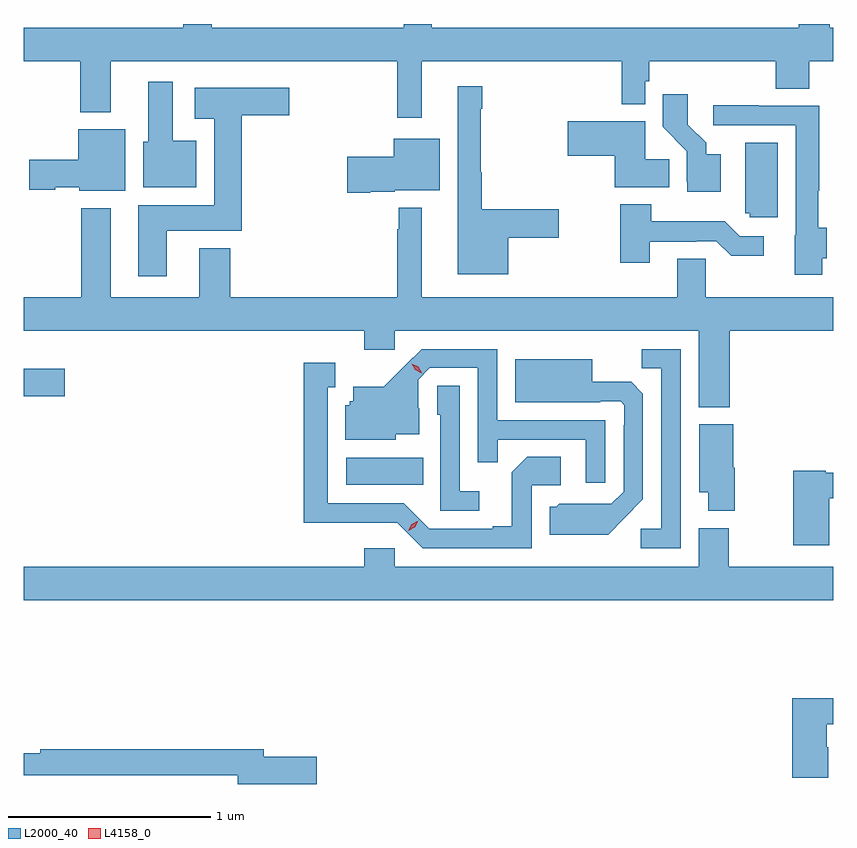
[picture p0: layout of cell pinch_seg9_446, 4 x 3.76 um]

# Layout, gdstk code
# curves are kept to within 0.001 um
import gdstk
lib = gdstk.Library(unit=1e-6, precision=1e-09)
def R(c, l, rs):  # rectangles x0, y0, x1, y1
    for r in rs: c.add(gdstk.rectangle(r[:2], r[2:], *l))
def P(c, l, *ps):  # polygons
    for p in ps: c.add(gdstk.Polygon(p, *l))
L2000_40 = (2000, 40)
L4158_0 = (4158, 0)

pinch_seg9_446 = lib.new_cell('pinch_seg9_446')
R(pinch_seg9_446, L2000_40, [(256.59,1190.33,256.97,1190.464), (254.997,1190.768,255.199,1190.902)])
P(pinch_seg9_446, L2000_40, [(255.925,1192.607),(255.785,1192.607),(255.785,1192.588),(254.997,1192.588),(254.997,1192.424),(255.275,1192.424),(255.275,1192.172),(255.427,1192.172),(255.427,1192.424),(256.842,1192.424),(256.842,1192.143),(256.963,1192.143),(256.963,1192.424),(257.953,1192.424),(257.953,1192.211),(258.069,1192.211),(258.069,1192.323),(258.089,1192.323),(258.089,1192.424),(258.713,1192.424),(258.713,1192.288),(258.878,1192.288),(258.878,1192.424),(258.997,1192.424),(258.997,1192.588),(258.979,1192.588),(258.979,1192.607),(258.827,1192.607),(258.827,1192.588),(257.014,1192.588),(257.014,1192.607),(256.875,1192.607),(256.875,1192.588),(255.925,1192.588)],
  [(255.85,1192.03),(255.733,1192.03),(255.733,1192.321),(255.611,1192.321),(255.611,1192.026),(255.587,1192.026),(255.587,1191.8),(255.85,1191.8)],
  [(257.392,1191.55),(257.641,1191.55),(257.641,1191.692),(257.26,1191.692),(257.26,1191.875),(257.255,1191.875),(257.255,1192.187),(257.263,1192.187),(257.263,1192.3),(257.141,1192.3),(257.141,1191.371),(257.392,1191.371)],
  [(255.703,1191.584),(256.073,1191.584),(256.073,1192.157),(256.309,1192.157),(256.309,1192.291),(255.843,1192.291),(255.843,1192.139),(255.938,1192.139),(255.938,1191.712),(255.563,1191.712),(255.563,1191.36),(255.703,1191.36)],
  [(258.442,1191.964),(258.37,1191.964),(258.37,1192.019),(258.279,1192.109),(258.279,1192.261),(258.154,1192.261),(258.154,1192.098),(258.273,1191.979),(258.273,1191.828),(258.275,1191.828),(258.275,1191.779),(258.442,1191.779)],
  [(258.942,1191.45),(258.964,1191.45),(258.964,1191.599),(258.922,1191.599),(258.922,1191.782),(258.929,1191.782),(258.929,1192.203),(258.629,1192.203),(258.629,1192.206),(258.404,1192.206),(258.404,1192.107),(258.813,1192.107),(258.813,1191.564),(258.806,1191.564),(258.806,1191.368),(258.942,1191.368)],
  [(258.188,1191.938),(258.067,1191.938),(258.067,1192.126),(257.685,1192.126),(257.685,1191.956),(257.918,1191.956),(257.918,1191.8),(258.188,1191.8)],
  [(255.499,1192.087),(255.266,1192.087),(255.266,1191.935),(255.024,1191.935),(255.024,1191.788),(255.153,1191.788),(255.153,1191.8),(255.27,1191.8),(255.27,1191.782),(255.499,1191.782)],
  [(256.708,1191.779),(256.83,1191.779),(256.83,1191.785),(257.053,1191.785),(257.053,1192.039),(256.826,1192.039),(256.826,1191.951),(256.596,1191.951),(256.596,1191.773),(256.708,1191.773)],
  [(258.724,1192.021),(258.563,1192.021),(258.563,1191.672),(258.585,1191.672),(258.585,1191.651),(258.724,1191.651)],
  [(258.091,1191.531),(258.32,1191.531),(258.32,1191.534),(258.42,1191.534),(258.493,1191.461),(258.654,1191.461),(258.654,1191.558),(258.534,1191.558),(258.461,1191.631),(258.099,1191.631),(258.099,1191.715),(257.944,1191.715),(257.944,1191.426),(258.091,1191.426)],
  [(258.485,1191.092),(258.997,1191.092),(258.997,1191.256),(258.366,1191.256),(258.366,1191.446),(258.227,1191.446),(258.227,1191.256),(256.963,1191.256),(256.963,1191.7),(256.849,1191.7),(256.849,1191.593),(256.842,1191.593),(256.842,1191.256),(256.016,1191.256),(256.016,1191.499),(255.863,1191.499),(255.863,1191.256),(255.427,1191.256),(255.427,1191.697),(255.28,1191.697),(255.28,1191.256),(254.997,1191.256),(254.997,1191.092),(256.679,1191.092),(256.679,1190.997),(256.83,1190.997),(256.83,1191.092),(258.332,1191.092),(258.332,1190.714),(258.485,1190.714)],
  [(257.871,1190.649),(257.337,1190.649),(257.337,1191),(256.964,1191),(256.777,1190.815),(256.625,1190.815),(256.625,1190.742),(256.608,1190.742),(256.608,1190.724),(256.586,1190.724),(256.586,1190.552),(256.836,1190.552),(256.836,1190.579),(256.951,1190.579),(256.951,1190.708),(256.947,1190.708),(256.947,1190.85),(257.004,1190.907),(257.241,1190.907),(257.241,1190.44),(257.339,1190.44),(257.339,1190.553),(257.775,1190.553),(257.775,1190.34),(257.871,1190.34)],
  [(258.243,1191),(258.052,1191),(258.052,1190.905),(258.147,1190.905),(258.147,1190.112),(258.045,1190.112),(258.045,1190.016),(258.243,1190.016)],
  [(257.965,1190.165),(258.057,1190.258),(258.057,1190.78),(257.998,1190.839),(257.806,1190.839),(257.806,1190.95),(257.426,1190.95),(257.426,1190.738),(257.846,1190.738),(257.846,1190.742),(257.946,1190.742),(257.964,1190.724),(257.964,1190.624),(257.961,1190.624),(257.961,1190.295),(257.901,1190.235),(257.644,1190.236),(257.628,1190.22),(257.597,1190.22),(257.597,1190.084),(257.885,1190.084)],
  [(257.508,1190.328),(257.65,1190.328),(257.65,1190.468),(257.485,1190.468),(257.409,1190.392),(257.409,1190.125),(257.315,1190.125),(257.315,1190.112),(257.001,1190.112),(256.875,1190.238),(256.498,1190.238),(256.498,1190.811),(256.537,1190.811),(256.537,1190.932),(256.38,1190.932),(256.38,1190.141),(256.842,1190.142),(256.968,1190.016),(257.508,1190.016)],
  [(257.248,1190.299),(257.151,1190.299),(257.151,1190.819),(257.04,1190.819),(257.04,1190.676),(257.055,1190.676),(257.055,1190.202),(257.248,1190.202)],
  [(258.51,1190.415),(258.502,1190.415),(258.502,1190.629),(258.335,1190.629),(258.335,1190.294),(258.38,1190.294),(258.38,1190.201),(258.51,1190.201)],
  [(258.977,1190.262),(258.997,1190.262),(258.997,1190.39),(258.96,1190.39),(258.96,1190.398),(258.799,1190.398),(258.799,1190.031),(258.977,1190.031)],
  [(258.997,1189.924),(258.48,1189.924),(258.48,1190.116),(258.332,1190.116),(258.332,1189.924),(256.83,1189.924),(256.83,1190.017),(256.679,1190.017),(256.679,1189.924),(254.997,1189.924),(254.997,1189.76),(258.997,1189.76)],
  [(258.972,1189.032),(258.964,1189.032),(258.964,1189.147),(258.997,1189.147),(258.997,1189.276),(258.794,1189.276),(258.794,1188.882),(258.972,1188.882)],
  [(256.444,1188.986),(256.183,1188.986),(256.183,1189.022),(255.079,1189.022),(255.079,1189.004),(254.997,1189.004),(254.997,1188.894),(256.055,1188.894),(256.055,1188.851),(256.444,1188.851)])
P(pinch_seg9_446, L4158_0, [(256.963,1190.882),(256.932,1190.898),(256.915,1190.927),(256.915,1190.928),(256.915,1190.928),(256.946,1190.912),(256.963,1190.883),(256.963,1190.882)],
  [(256.896,1190.102),(256.896,1190.102),(256.914,1190.135),(256.946,1190.153),(256.946,1190.153),(256.946,1190.153),(256.928,1190.12),(256.897,1190.102)])

lib.write_gds('pinch_seg9_446.gds')
